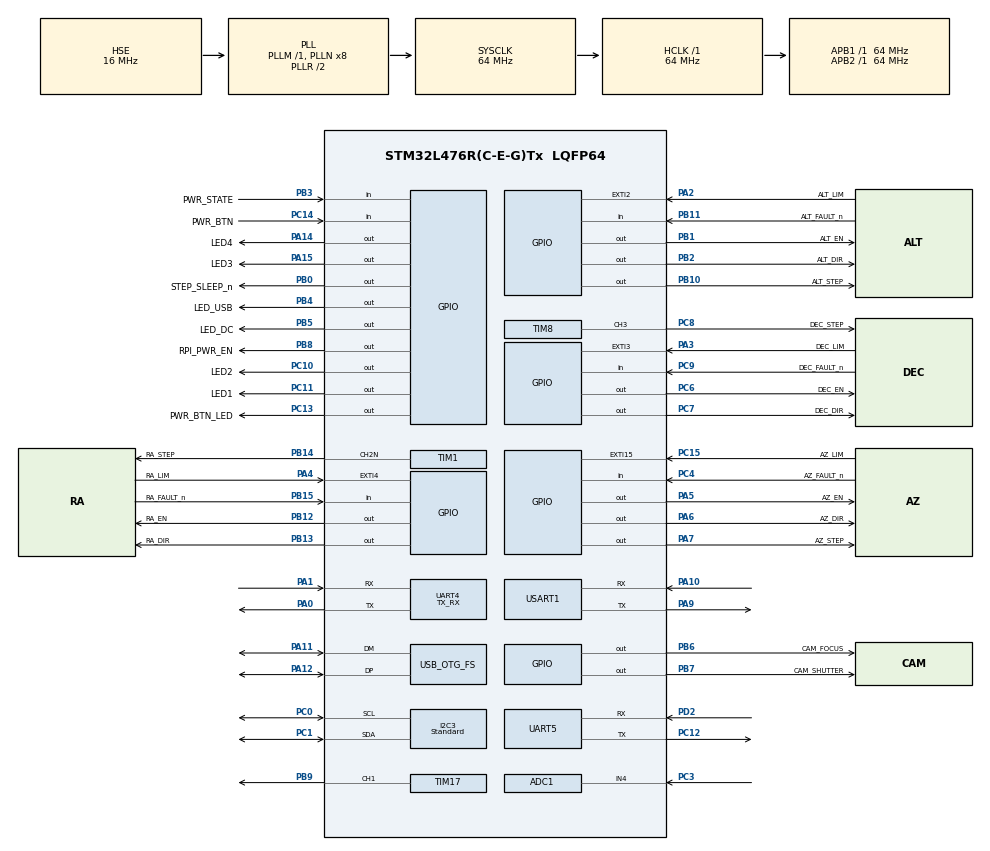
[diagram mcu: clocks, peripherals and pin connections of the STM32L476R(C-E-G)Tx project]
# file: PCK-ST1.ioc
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ADC1.Channel-0\#ChannelRegularConversion=ADC_CHANNEL_VREFINT
ADC1.Channel-1\#ChannelRegularConversion=ADC_CHANNEL_4
ADC1.ContinuousConvMode=ENABLE
ADC1.DMAContinuousRequests=ENABLE
ADC1.NbrOfConversion=2
ADC1.NbrOfConversionFlag=1
ADC1.OffsetNumber-0\#ChannelRegularConversion=ADC_OFFSET_NONE
ADC1.OffsetNumber-1\#ChannelRegularConversion=ADC_OFFSET_NONE
ADC1.Rank-0\#ChannelRegularConversion=1
ADC1.Rank-1\#ChannelRegularConversion=2
ADC1.Resolution=ADC_RESOLUTION_12B
ADC1.SamplingTime-0\#ChannelRegularConversion=ADC_SAMPLETIME_640CYCLES_5
ADC1.SamplingTime-1\#ChannelRegularConversion=ADC_SAMPLETIME_640CYCLES_5
ADC1.master=1
Dma.ADC1.1.Direction=DMA_PERIPH_TO_MEMORY
Dma.ADC1.1.Instance=DMA1_Channel1
Dma.ADC1.1.MemDataAlignment=DMA_MDATAALIGN_HALFWORD
Dma.ADC1.1.MemInc=DMA_MINC_ENABLE
Dma.ADC1.1.Mode=DMA_CIRCULAR
Dma.ADC1.1.PeriphDataAlignment=DMA_PDATAALIGN_HALFWORD
Dma.ADC1.1.PeriphInc=DMA_PINC_DISABLE
Dma.ADC1.1.Priority=DMA_PRIORITY_LOW
Dma.Request0=UART4_RX
Dma.Request1=ADC1
Dma.UART4_RX.0.Direction=DMA_PERIPH_TO_MEMORY
Dma.UART4_RX.0.Instance=DMA2_Channel5
Dma.UART4_RX.0.MemDataAlignment=DMA_MDATAALIGN_BYTE
Dma.UART4_RX.0.MemInc=DMA_MINC_ENABLE
Dma.UART4_RX.0.Mode=DMA_CIRCULAR
Dma.UART4_RX.0.PeriphDataAlignment=DMA_PDATAALIGN_BYTE
Dma.UART4_RX.0.PeriphInc=DMA_PINC_DISABLE
Dma.UART4_RX.0.Priority=DMA_PRIORITY_LOW
I2C3.Analog_Filter=I2C_ANALOGFILTER_ENABLE
I2C3.CustomTiming=Disabled
I2C3.I2C_Rise_Time=100
I2C3.I2C_Speed_Mode=I2C_Standard
I2C3.Timing=0x10B17DB5
Mcu.Family=STM32L4
Mcu.Name=STM32L476R(C-E-G)Tx
Mcu.Package=LQFP64
NVIC.DMA1_Channel1_IRQn=true\:0\:0\:false\:false\:true\:false\:true\:true
NVIC.DMA2_Channel5_IRQn=true\:0\:0\:false\:false\:true\:false\:true\:true
NVIC.EXTI2_IRQn=true\:0\:0\:false\:false\:true\:true\:true\:true
NVIC.EXTI3_IRQn=true\:0\:0\:false\:false\:true\:true\:true\:true
NVIC.EXTI4_IRQn=true\:0\:0\:false\:false\:true\:true\:true\:true
NVIC.OTG_FS_IRQn=true\:0\:0\:false\:false\:true\:false\:true\:true
NVIC.PriorityGroup=NVIC_PRIORITYGROUP_4
NVIC.TIM1_UP_TIM16_IRQn=true\:0\:0\:false\:false\:true\:true\:true\:true
NVIC.TIM2_IRQn=true\:0\:0\:false\:false\:true\:true\:true\:true
NVIC.TIM3_IRQn=true\:0\:0\:false\:false\:true\:true\:true\:true
NVIC.TIM5_IRQn=true\:0\:0\:false\:false\:true\:true\:true\:true
NVIC.UART5_IRQn=true\:0\:0\:false\:false\:true\:true\:true\:true
NVIC.USART1_IRQn=true\:0\:0\:false\:false\:true\:true\:true\:true
PA0.Mode=Asynchronous
PA0.Signal=UART4_TX
PA1.Mode=Asynchronous
PA1.Signal=UART4_RX
PA10.Mode=Asynchronous
PA10.Signal=USART1_RX
PA11.Mode=Device_Only
PA11.Signal=USB_OTG_FS_DM
PA12.Mode=Device_Only
PA12.Signal=USB_OTG_FS_DP
PA14\ (JTCK-SWCLK).GPIO_Label=LED4
PA14\ (JTCK-SWCLK).Signal=GPIO_Output
PA15\ (JTDI).GPIO_Label=LED3
PA15\ (JTDI).Signal=GPIO_Output
PA2.GPIO_Label=ALT_LIM
PA2.GPIO_ModeDefaultEXTI=GPIO_MODE_IT_FALLING
PA2.GPIO_PuPd=GPIO_NOPULL
PA2.Signal=GPXTI2
PA3.GPIO_Label=DEC_LIM
PA3.GPIO_ModeDefaultEXTI=GPIO_MODE_IT_FALLING
PA3.Signal=GPXTI3
PA4.GPIO_Label=RA_LIM
PA4.GPIO_ModeDefaultEXTI=GPIO_MODE_IT_FALLING
PA4.Signal=GPXTI4
PA5.GPIO_Label=AZ_EN
PA5.Signal=GPIO_Output
PA6.GPIO_Label=AZ_DIR
PA6.Signal=GPIO_Output
PA7.GPIO_Label=AZ_STEP
PA7.GPIO_Speed=GPIO_SPEED_FREQ_LOW
PA7.Signal=GPIO_Output
PA9.Mode=Asynchronous
PA9.Signal=USART1_TX
PB0.GPIO_Label=STEP_SLEEP_n
PB0.Signal=GPIO_Output
PB1.GPIO_Label=ALT_EN
PB1.Signal=GPIO_Output
PB10.GPIO_Label=ALT_STEP
PB10.Signal=GPIO_Output
PB11.GPIO_Label=ALT_FAULT_n
PB11.Signal=GPIO_Input
PB12.GPIO_Label=RA_EN
PB12.Signal=GPIO_Output
PB13.GPIO_Label=RA_DIR
PB13.Signal=GPIO_Output
PB14.GPIO_Label=RA_STEP
PB14.Mode=PWM Generation2 CH2N
PB14.Signal=TIM1_CH2N
PB15.GPIO_Label=RA_FAULT_n
PB15.Signal=GPIO_Input
PB2.GPIO_Label=ALT_DIR
PB2.Signal=GPIO_Output
PB3\ (JTDO-TRACESWO).GPIO_Label=PWR_STATE
PB3\ (JTDO-TRACESWO).GPIO_PuPd=GPIO_PULLUP
PB3\ (JTDO-TRACESWO).Signal=GPIO_Input
PB4\ (NJTRST).GPIO_Label=LED_USB
PB4\ (NJTRST).Signal=GPIO_Output
PB5.GPIO_Label=LED_DC
PB5.Signal=GPIO_Output
PB6.GPIO_Label=CAM_FOCUS
PB6.Signal=GPIO_Output
PB7.GPIO_Label=CAM_SHUTTER
PB7.Signal=GPIO_Output
PB8.GPIO_Label=RPI_PWR_EN
PB8.Signal=GPIO_Output
PB9.Signal=S_TIM17_CH1
PC0.Mode=I2C
PC0.Signal=I2C3_SCL
PC1.Mode=I2C
PC1.Signal=I2C3_SDA
PC10.GPIO_Label=LED2
PC10.Signal=GPIO_Output
PC11.GPIO_Label=LED1
PC11.Signal=GPIO_Output
PC12.Mode=Asynchronous
PC12.Signal=UART5_TX
PC13.GPIO_Label=PWR_BTN_LED
PC13.Signal=GPIO_Output
PC14-OSC32_IN\ (PC14).GPIO_Label=PWR_BTN
PC14-OSC32_IN\ (PC14).Signal=GPIO_Input
PC15-OSC32_OUT\ (PC15).GPIO_Label=AZ_LIM
PC15-OSC32_OUT\ (PC15).GPIO_ModeDefaultEXTI=GPIO_MODE_IT_FALLING
PC15-OSC32_OUT\ (PC15).Signal=GPXTI15
PC3.Signal=ADCx_IN4
PC4.GPIO_Label=AZ_FAULT_n
PC4.Signal=GPIO_Input
PC6.GPIO_Label=DEC_EN
PC6.Signal=GPIO_Output
PC7.GPIO_Label=DEC_DIR
PC7.Signal=GPIO_Output
PC8.GPIO_Label=DEC_STEP
PC8.GPIO_Speed=GPIO_SPEED_FREQ_HIGH
PC8.Signal=S_TIM8_CH3
PC9.GPIO_Label=DEC_FAULT_n
PC9.Signal=GPIO_Input
PD2.Mode=Asynchronous
PD2.Signal=UART5_RX
PH0-OSC_IN\ (PH0).Mode=HSE-External-Oscillator
PH0-OSC_IN\ (PH0).Signal=RCC_OSC_IN
PH1-OSC_OUT\ (PH1).Mode=HSE-External-Oscillator
PH1-OSC_OUT\ (PH1).Signal=RCC_OSC_OUT
ProjectManager.HeapSize=0x200
ProjectManager.StackSize=0x400
ProjectManager.TargetToolchain=STM32CubeIDE
RCC.ADCFreq_Value=48000000
RCC.AHBFreq_Value=64000000
RCC.APB1Freq_Value=64000000
RCC.APB1TimFreq_Value=64000000
RCC.APB2Freq_Value=64000000
RCC.APB2TimFreq_Value=64000000
RCC.CortexFreq_Value=64000000
RCC.HCLKFreq_Value=64000000
RCC.HSE_VALUE=16000000
RCC.HSI_VALUE=16000000
RCC.LSE_VALUE=32768
RCC.MSI_VALUE=4000000
RCC.PLLSAI1N=12
RCC.PLLSAI1Q=RCC_PLLQ_DIV4
RCC.PLLSAI1R=RCC_PLLR_DIV4
RCC.PLLSourceVirtual=RCC_PLLSOURCE_HSE
RCC.SYSCLKFreq_VALUE=64000000
RCC.SYSCLKSource=RCC_SYSCLKSOURCE_PLLCLK
RCC.USBFreq_Value=48000000
RCC.VCOOutputFreq_Value=128000000
SH.ADCx_IN4.0=ADC2_IN4
SH.ADCx_IN4.1=ADC1_IN4,IN4-Single-Ended
SH.S_TIM17_CH1.0=TIM17_CH1,PWM Generation1 CH1
SH.S_TIM8_CH3.0=TIM8_CH3,PWM Generation3 CH3
TIM1.Channel-PWM\ Generation2\ CH2N=TIM_CHANNEL_2
TIM1.OCMode_PWM-PWM\ Generation2\ CH2N=TIM_OCMODE_PWM1
TIM1.OCNPolarity_2=TIM_OCNPOLARITY_LOW
TIM1.Period=19
TIM1.Prescaler=31
TIM1.Pulse-PWM\ Generation2\ CH2N=10
TIM1.TIM_MasterOutputTrigger=TIM_TRGO_UPDATE
TIM16.AutoReloadPreload=TIM_AUTORELOAD_PRELOAD_ENABLE
TIM16.Channel=TIM_CHANNEL_1
TIM16.Period=4
TIM16.Prescaler=63999
TIM17.AutoReloadPreload=TIM_AUTORELOAD_PRELOAD_ENABLE
TIM17.Channel=TIM_CHANNEL_1
TIM17.Period=1000
TIM17.Prescaler=63
TIM17.Pulse=1000
TIM2.AutoReloadPreload=TIM_AUTORELOAD_PRELOAD_DISABLE
TIM2.Period=1000
TIM3.AutoReloadPreload=TIM_AUTORELOAD_PRELOAD_ENABLE
TIM3.Period=99
TIM3.Prescaler=63
TIM5.AutoReloadPreload=TIM_AUTORELOAD_PRELOAD_DISABLE
TIM5.Period=1000
TIM8.Channel-PWM\ Generation3\ CH3=TIM_CHANNEL_3
TIM8.Period=19
TIM8.Prescaler=31
TIM8.Pulse-PWM\ Generation3\ CH3=500
TIM8.TIM_MasterOutputTrigger=TIM_TRGO_UPDATE
TIM8.TIM_MasterOutputTrigger2=TIM_TRGO2_RESET
UART4.Mode=MODE_TX_RX
USART1.VirtualMode-Asynchronous=VM_ASYNC
USB_DEVICE.CLASS_NAME_FS=CDC
USB_DEVICE.VirtualMode=Cdc
USB_DEVICE.VirtualModeFS=Cdc_FS
USB_OTG_FS.VirtualMode=Device_Only
VP_ADC1_Vref_Input.Mode=IN-Vrefint
VP_TIM16_VS_ClockSourceINT.Mode=Enable_Timer
VP_TIM16_VS_no_output1.Mode=Output Compare1 No Output
VP_TIM17_VS_ClockSourceINT.Mode=Enable_Timer
VP_TIM1_VS_ClockSourceINT.Mode=Internal
VP_TIM2_VS_ClockSourceITR.Mode=TriggerSource_ITR0
VP_TIM2_VS_ControllerModeClock.Mode=Clock Mode
VP_TIM3_VS_ClockSourceINT.Mode=Internal
VP_TIM5_VS_ClockSourceITR.Mode=TriggerSource_ITR3
VP_TIM5_VS_ControllerModeClock.Mode=Clock Mode
VP_TIM8_VS_ClockSourceINT.Mode=Internal
VP_USB_DEVICE_VS_USB_DEVICE_CDC_FS.Mode=CDC_FS
board=custom

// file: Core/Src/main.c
/* USER CODE BEGIN Header */
/**
  ******************************************************************************
  * @file           : main.c
  * @brief          : Main program body
  ******************************************************************************
  * @attention
  *
  * Copyright (c) 2025 STMicroelectronics.
  * All rights reserved.
  *
  * This software is licensed under terms that can be found in the LICENSE file
  * in the root directory of this software component.
  * If no LICENSE file comes with this software, it is provided AS-IS.
  *
  ******************************************************************************
  */
/* USER CODE END Header */
#include "main.h"
#include "usb_device.h"

/* USER CODE BEGIN Includes */
#include <string.h>
#include <stdio.h>

#include "timers.h"
#include "stepper.h"
#include "mag.h"
#include "gps.h"
#include "exti.h"
#include "usbd_cdc_if.h"
#include "wmm.h"
#include "control_loop.h"
#include "stdbool.h"
#include "cmd_handler.h"
#include "uart_it.h"
#include "telemetry.h"
#include "astro.h"
#include "camera.h"

/* USER CODE END Includes */

ADC_HandleTypeDef hadc1;
DMA_HandleTypeDef hdma_adc1;

I2C_HandleTypeDef hi2c3;

TIM_HandleTypeDef htim1;
TIM_HandleTypeDef htim2;
TIM_HandleTypeDef htim3;
TIM_HandleTypeDef htim5;
TIM_HandleTypeDef htim8;
TIM_HandleTypeDef htim16;
TIM_HandleTypeDef htim17;

UART_HandleTypeDef huart4;
UART_HandleTypeDef huart5;
UART_HandleTypeDef huart1;
DMA_HandleTypeDef hdma_uart4_rx;

void SystemClock_Config(void);
void PeriphCommonClock_Config(void);
static void MX_GPIO_Init(void);
static void MX_DMA_Init(void);
static void MX_I2C3_Init(void);
static void MX_UART4_Init(void);
static void MX_UART5_Init(void);
static void MX_USART1_UART_Init(void);
static void MX_TIM17_Init(void);
static void MX_TIM3_Init(void);
static void MX_TIM5_Init(void);
static void MX_TIM8_Init(void);
static void MX_TIM1_Init(void);
static void MX_TIM2_Init(void);
static void MX_ADC1_Init(void);
static void MX_TIM16_Init(void);

int main(void)
{

  /* MCU Configuration--------------------------------------------------------*/

  /* Reset of all peripherals, Initializes the Flash interface and the Systick. */
  HAL_Init();

  /* Configure the system clock */
  SystemClock_Config();

  /* Configure the peripherals common clocks */
  PeriphCommonClock_Config();

  /* Initialize all configured peripherals */
  MX_GPIO_Init();
  MX_DMA_Init();
  MX_I2C3_Init();
  MX_UART4_Init();
  MX_UART5_Init();
  MX_USART1_UART_Init();
  MX_TIM17_Init();
  MX_USB_DEVICE_Init();
  MX_TIM3_Init();
  MX_TIM5_Init();
  MX_TIM8_Init();
  MX_TIM1_Init();
  MX_TIM2_Init();
  MX_ADC1_Init();
  MX_TIM16_Init();

  /* Infinite loop */
  /* USER CODE BEGIN WHILE */

  stepperInit();
  Stepper_nSleep(GPIO_PIN_SET);
  Mag_Init(&hi2c3);
  commandHandler_Init();
  UART_IT_Init();
  GPS_Init_DMA();
  wmm_init();
  adcVoltageInit();
  cameraInit();

  ledsSet(0); //Turns LEDS off by default
  pwrButtonSet(1); //Turns Power button LED ON by default

  while (1)
  {
    /* USER CODE END WHILE */

    /* USER CODE BEGIN 3 */

	controlLoop();
	commandHandler();
	telemetryHandler();
	cameraHandler();

  }

  /* USER CODE END 3 */
}

void SystemClock_Config(void)
{
  RCC_OscInitTypeDef RCC_OscInitStruct = {0};
  RCC_ClkInitTypeDef RCC_ClkInitStruct = {0};

  /** Configure the main internal regulator output voltage
  */
  if (HAL_PWREx_ControlVoltageScaling(PWR_REGULATOR_VOLTAGE_SCALE1) != HAL_OK)
  {
    Error_Handler();
  }

  /** Initializes the RCC Oscillators according to the specified parameters
  * in the RCC_OscInitTypeDef structure.
  */
  RCC_OscInitStruct.OscillatorType = RCC_OSCILLATORTYPE_HSE;
  RCC_OscInitStruct.HSEState = RCC_HSE_ON;
  RCC_OscInitStruct.PLL.PLLState = RCC_PLL_ON;
  RCC_OscInitStruct.PLL.PLLSource = RCC_PLLSOURCE_HSE;
  RCC_OscInitStruct.PLL.PLLM = 1;
  RCC_OscInitStruct.PLL.PLLN = 8;
  RCC_OscInitStruct.PLL.PLLP = RCC_PLLP_DIV7;
  RCC_OscInitStruct.PLL.PLLQ = RCC_PLLQ_DIV2;
  RCC_OscInitStruct.PLL.PLLR = RCC_PLLR_DIV2;
  if (HAL_RCC_OscConfig(&RCC_OscInitStruct) != HAL_OK)
  {
    Error_Handler();
  }

  /** Initializes the CPU, AHB and APB buses clocks
  */
  RCC_ClkInitStruct.ClockType = RCC_CLOCKTYPE_HCLK|RCC_CLOCKTYPE_SYSCLK
                              |RCC_CLOCKTYPE_PCLK1|RCC_CLOCKTYPE_PCLK2;
  RCC_ClkInitStruct.SYSCLKSource = RCC_SYSCLKSOURCE_PLLCLK;
  RCC_ClkInitStruct.AHBCLKDivider = RCC_SYSCLK_DIV1;
  RCC_ClkInitStruct.APB1CLKDivider = RCC_HCLK_DIV1;
  RCC_ClkInitStruct.APB2CLKDivider = RCC_HCLK_DIV1;

  if (HAL_RCC_ClockConfig(&RCC_ClkInitStruct, FLASH_LATENCY_3) != HAL_OK)
  {
    Error_Handler();
  }
}

void PeriphCommonClock_Config(void)
{
  RCC_PeriphCLKInitTypeDef PeriphClkInit = {0};

  /** Initializes the peripherals clock
  */
  PeriphClkInit.PeriphClockSelection = RCC_PERIPHCLK_USB|RCC_PERIPHCLK_ADC;
  PeriphClkInit.AdcClockSelection = RCC_ADCCLKSOURCE_PLLSAI1;
  PeriphClkInit.UsbClockSelection = RCC_USBCLKSOURCE_PLLSAI1;
  PeriphClkInit.PLLSAI1.PLLSAI1Source = RCC_PLLSOURCE_HSE;
  PeriphClkInit.PLLSAI1.PLLSAI1M = 1;
  PeriphClkInit.PLLSAI1.PLLSAI1N = 12;
  PeriphClkInit.PLLSAI1.PLLSAI1P = RCC_PLLP_DIV7;
  PeriphClkInit.PLLSAI1.PLLSAI1Q = RCC_PLLQ_DIV4;
  PeriphClkInit.PLLSAI1.PLLSAI1R = RCC_PLLR_DIV4;
  PeriphClkInit.PLLSAI1.PLLSAI1ClockOut = RCC_PLLSAI1_48M2CLK|RCC_PLLSAI1_ADC1CLK;
  if (HAL_RCCEx_PeriphCLKConfig(&PeriphClkInit) != HAL_OK)
  {
    Error_Handler();
  }
}

static void MX_ADC1_Init(void)
{

  ADC_MultiModeTypeDef multimode = {0};
  ADC_ChannelConfTypeDef sConfig = {0};

  /** Common config
  */
  hadc1.Instance = ADC1;
  hadc1.Init.ClockPrescaler = ADC_CLOCK_ASYNC_DIV1;
  hadc1.Init.Resolution = ADC_RESOLUTION_12B;
  hadc1.Init.DataAlign = ADC_DATAALIGN_RIGHT;
  hadc1.Init.ScanConvMode = ADC_SCAN_ENABLE;
  hadc1.Init.EOCSelection = ADC_EOC_SINGLE_CONV;
  hadc1.Init.LowPowerAutoWait = DISABLE;
  hadc1.Init.ContinuousConvMode = ENABLE;
  hadc1.Init.NbrOfConversion = 2;
  hadc1.Init.DiscontinuousConvMode = DISABLE;
  hadc1.Init.ExternalTrigConv = ADC_SOFTWARE_START;
  hadc1.Init.ExternalTrigConvEdge = ADC_EXTERNALTRIGCONVEDGE_NONE;
  hadc1.Init.DMAContinuousRequests = ENABLE;
  hadc1.Init.Overrun = ADC_OVR_DATA_PRESERVED;
  hadc1.Init.OversamplingMode = DISABLE;
  if (HAL_ADC_Init(&hadc1) != HAL_OK)
  {
    Error_Handler();
  }

  /** Configure the ADC multi-mode
  */
  multimode.Mode = ADC_MODE_INDEPENDENT;
  if (HAL_ADCEx_MultiModeConfigChannel(&hadc1, &multimode) != HAL_OK)
  {
    Error_Handler();
  }

  /** Configure Regular Channel
  */
  sConfig.Channel = ADC_CHANNEL_VREFINT;
  sConfig.Rank = ADC_REGULAR_RANK_1;
  sConfig.SamplingTime = ADC_SAMPLETIME_640CYCLES_5;
  sConfig.SingleDiff = ADC_SINGLE_ENDED;
  sConfig.OffsetNumber = ADC_OFFSET_NONE;
  sConfig.Offset = 0;
  if (HAL_ADC_ConfigChannel(&hadc1, &sConfig) != HAL_OK)
  {
    Error_Handler();
  }

  /** Configure Regular Channel
  */
  sConfig.Channel = ADC_CHANNEL_4;
  sConfig.Rank = ADC_REGULAR_RANK_2;
  if (HAL_ADC_ConfigChannel(&hadc1, &sConfig) != HAL_OK)
  {
    Error_Handler();
  }

}

static void MX_I2C3_Init(void)
{

  hi2c3.Instance = I2C3;
  hi2c3.Init.Timing = 0x10B17DB5;
  hi2c3.Init.OwnAddress1 = 0;
  hi2c3.Init.AddressingMode = I2C_ADDRESSINGMODE_7BIT;
  hi2c3.Init.DualAddressMode = I2C_DUALADDRESS_DISABLE;
  hi2c3.Init.OwnAddress2 = 0;
  hi2c3.Init.OwnAddress2Masks = I2C_OA2_NOMASK;
  hi2c3.Init.GeneralCallMode = I2C_GENERALCALL_DISABLE;
  hi2c3.Init.NoStretchMode = I2C_NOSTRETCH_DISABLE;
  if (HAL_I2C_Init(&hi2c3) != HAL_OK)
  {
    Error_Handler();
  }

  /** Configure Analogue filter
  */
  if (HAL_I2CEx_ConfigAnalogFilter(&hi2c3, I2C_ANALOGFILTER_ENABLE) != HAL_OK)
  {
    Error_Handler();
  }

  /** Configure Digital filter
  */
  if (HAL_I2CEx_ConfigDigitalFilter(&hi2c3, 0) != HAL_OK)
  {
    Error_Handler();
  }

}

static void MX_TIM1_Init(void)
{

  TIM_ClockConfigTypeDef sClockSourceConfig = {0};
  TIM_MasterConfigTypeDef sMasterConfig = {0};
  TIM_OC_InitTypeDef sConfigOC = {0};
  TIM_BreakDeadTimeConfigTypeDef sBreakDeadTimeConfig = {0};

  htim1.Instance = TIM1;
  htim1.Init.Prescaler = 31;
  htim1.Init.CounterMode = TIM_COUNTERMODE_UP;
  htim1.Init.Period = 19;
  htim1.Init.ClockDivision = TIM_CLOCKDIVISION_DIV1;
  htim1.Init.RepetitionCounter = 0;
  htim1.Init.AutoReloadPreload = TIM_AUTORELOAD_PRELOAD_DISABLE;
  if (HAL_TIM_Base_Init(&htim1) != HAL_OK)
  {
    Error_Handler();
  }
  sClockSourceConfig.ClockSource = TIM_CLOCKSOURCE_INTERNAL;
  if (HAL_TIM_ConfigClockSource(&htim1, &sClockSourceConfig) != HAL_OK)
  {
    Error_Handler();
  }
  if (HAL_TIM_PWM_Init(&htim1) != HAL_OK)
  {
    Error_Handler();
  }
  sMasterConfig.MasterOutputTrigger = TIM_TRGO_UPDATE;
  sMasterConfig.MasterOutputTrigger2 = TIM_TRGO2_RESET;
  sMasterConfig.MasterSlaveMode = TIM_MASTERSLAVEMODE_DISABLE;
  if (HAL_TIMEx_MasterConfigSynchronization(&htim1, &sMasterConfig) != HAL_OK)
  {
    Error_Handler();
  }
  sConfigOC.OCMode = TIM_OCMODE_PWM1;
  sConfigOC.Pulse = 10;
  sConfigOC.OCPolarity = TIM_OCPOLARITY_HIGH;
  sConfigOC.OCNPolarity = TIM_OCNPOLARITY_LOW;
  sConfigOC.OCFastMode = TIM_OCFAST_DISABLE;
  sConfigOC.OCIdleState = TIM_OCIDLESTATE_RESET;
  sConfigOC.OCNIdleState = TIM_OCNIDLESTATE_RESET;
  if (HAL_TIM_PWM_ConfigChannel(&htim1, &sConfigOC, TIM_CHANNEL_2) != HAL_OK)
  {
    Error_Handler();
  }
  sBreakDeadTimeConfig.OffStateRunMode = TIM_OSSR_DISABLE;
  sBreakDeadTimeConfig.OffStateIDLEMode = TIM_OSSI_DISABLE;
  sBreakDeadTimeConfig.LockLevel = TIM_LOCKLEVEL_OFF;
  sBreakDeadTimeConfig.DeadTime = 0;
  sBreakDeadTimeConfig.BreakState = TIM_BREAK_DISABLE;
  sBreakDeadTimeConfig.BreakPolarity = TIM_BREAKPOLARITY_HIGH;
  sBreakDeadTimeConfig.BreakFilter = 0;
  sBreakDeadTimeConfig.Break2State = TIM_BREAK2_DISABLE;
  sBreakDeadTimeConfig.Break2Polarity = TIM_BREAK2POLARITY_HIGH;
  sBreakDeadTimeConfig.Break2Filter = 0;
  sBreakDeadTimeConfig.AutomaticOutput = TIM_AUTOMATICOUTPUT_DISABLE;
  if (HAL_TIMEx_ConfigBreakDeadTime(&htim1, &sBreakDeadTimeConfig) != HAL_OK)
  {
    Error_Handler();
  }
  HAL_TIM_MspPostInit(&htim1);

}

static void MX_TIM2_Init(void)
{

  TIM_SlaveConfigTypeDef sSlaveConfig = {0};
  TIM_MasterConfigTypeDef sMasterConfig = {0};

  htim2.Instance = TIM2;
  htim2.Init.Prescaler = 0;
  htim2.Init.CounterMode = TIM_COUNTERMODE_UP;
  htim2.Init.Period = 1000;
  htim2.Init.ClockDivision = TIM_CLOCKDIVISION_DIV1;
  htim2.Init.AutoReloadPreload = TIM_AUTORELOAD_PRELOAD_DISABLE;
  if (HAL_TIM_Base_Init(&htim2) != HAL_OK)
  {
    Error_Handler();
  }
  sSlaveConfig.SlaveMode = TIM_SLAVEMODE_EXTERNAL1;
  sSlaveConfig.InputTrigger = TIM_TS_ITR0;
  if (HAL_TIM_SlaveConfigSynchro(&htim2, &sSlaveConfig) != HAL_OK)
  {
    Error_Handler();
  }
  sMasterConfig.MasterOutputTrigger = TIM_TRGO_RESET;
  sMasterConfig.MasterSlaveMode = TIM_MASTERSLAVEMODE_DISABLE;
  if (HAL_TIMEx_MasterConfigSynchronization(&htim2, &sMasterConfig) != HAL_OK)
  {
    Error_Handler();
  }

}

static void MX_TIM3_Init(void)
{

  TIM_ClockConfigTypeDef sClockSourceConfig = {0};
  TIM_MasterConfigTypeDef sMasterConfig = {0};

  htim3.Instance = TIM3;
  htim3.Init.Prescaler = 63;
  htim3.Init.CounterMode = TIM_COUNTERMODE_UP;
  htim3.Init.Period = 99;
  htim3.Init.ClockDivision = TIM_CLOCKDIVISION_DIV1;
  htim3.Init.AutoReloadPreload = TIM_AUTORELOAD_PRELOAD_ENABLE;
  if (HAL_TIM_Base_Init(&htim3) != HAL_OK)
  {
    Error_Handler();
  }
  sClockSourceConfig.ClockSource = TIM_CLOCKSOURCE_INTERNAL;
  if (HAL_TIM_ConfigClockSource(&htim3, &sClockSourceConfig) != HAL_OK)
  {
    Error_Handler();
  }
  sMasterConfig.MasterOutputTrigger = TIM_TRGO_RESET;
  sMasterConfig.MasterSlaveMode = TIM_MASTERSLAVEMODE_DISABLE;
  if (HAL_TIMEx_MasterConfigSynchronization(&htim3, &sMasterConfig) != HAL_OK)
  {
    Error_Handler();
  }

}

static void MX_TIM5_Init(void)
{

  TIM_SlaveConfigTypeDef sSlaveConfig = {0};
  TIM_MasterConfigTypeDef sMasterConfig = {0};

  htim5.Instance = TIM5;
  htim5.Init.Prescaler = 0;
  htim5.Init.CounterMode = TIM_COUNTERMODE_UP;
  htim5.Init.Period = 1000;
  htim5.Init.ClockDivision = TIM_CLOCKDIVISION_DIV1;
  htim5.Init.AutoReloadPreload = TIM_AUTORELOAD_PRELOAD_DISABLE;
  if (HAL_TIM_Base_Init(&htim5) != HAL_OK)
  {
    Error_Handler();
  }
  sSlaveConfig.SlaveMode = TIM_SLAVEMODE_EXTERNAL1;
  sSlaveConfig.InputTrigger = TIM_TS_ITR3;
  if (HAL_TIM_SlaveConfigSynchro(&htim5, &sSlaveConfig) != HAL_OK)
  {
    Error_Handler();
  }
  sMasterConfig.MasterOutputTrigger = TIM_TRGO_RESET;
  sMasterConfig.MasterSlaveMode = TIM_MASTERSLAVEMODE_DISABLE;
  if (HAL_TIMEx_MasterConfigSynchronization(&htim5, &sMasterConfig) != HAL_OK)
  {
    Error_Handler();
  }

}

static void MX_TIM8_Init(void)
{

  TIM_ClockConfigTypeDef sClockSourceConfig = {0};
  TIM_MasterConfigTypeDef sMasterConfig = {0};
  TIM_OC_InitTypeDef sConfigOC = {0};
  TIM_BreakDeadTimeConfigTypeDef sBreakDeadTimeConfig = {0};

  htim8.Instance = TIM8;
  htim8.Init.Prescaler = 31;
  htim8.Init.CounterMode = TIM_COUNTERMODE_UP;
  htim8.Init.Period = 19;
  htim8.Init.ClockDivision = TIM_CLOCKDIVISION_DIV1;
  htim8.Init.RepetitionCounter = 0;
  htim8.Init.AutoReloadPreload = TIM_AUTORELOAD_PRELOAD_DISABLE;
  if (HAL_TIM_Base_Init(&htim8) != HAL_OK)
  {
    Error_Handler();
  }
  sClockSourceConfig.ClockSource = TIM_CLOCKSOURCE_INTERNAL;
  if (HAL_TIM_ConfigClockSource(&htim8, &sClockSourceConfig) != HAL_OK)
  {
    Error_Handler();
  }
  if (HAL_TIM_PWM_Init(&htim8) != HAL_OK)
  {
    Error_Handler();
  }
  sMasterConfig.MasterOutputTrigger = TIM_TRGO_UPDATE;
  sMasterConfig.MasterOutputTrigger2 = TIM_TRGO2_RESET;
  sMasterConfig.MasterSlaveMode = TIM_MASTERSLAVEMODE_DISABLE;
  if (HAL_TIMEx_MasterConfigSynchronization(&htim8, &sMasterConfig) != HAL_OK)
  {
    Error_Handler();
  }
  sConfigOC.OCMode = TIM_OCMODE_PWM1;
  sConfigOC.Pulse = 500;
  sConfigOC.OCPolarity = TIM_OCPOLARITY_HIGH;
  sConfigOC.OCNPolarity = TIM_OCNPOLARITY_HIGH;
  sConfigOC.OCFastMode = TIM_OCFAST_DISABLE;
  sConfigOC.OCIdleState = TIM_OCIDLESTATE_RESET;
  sConfigOC.OCNIdleState = TIM_OCNIDLESTATE_RESET;
  if (HAL_TIM_PWM_ConfigChannel(&htim8, &sConfigOC, TIM_CHANNEL_3) != HAL_OK)
  {
    Error_Handler();
  }
  sBreakDeadTimeConfig.OffStateRunMode = TIM_OSSR_DISABLE;
  sBreakDeadTimeConfig.OffStateIDLEMode = TIM_OSSI_DISABLE;
  sBreakDeadTimeConfig.LockLevel = TIM_LOCKLEVEL_OFF;
  sBreakDeadTimeConfig.DeadTime = 0;
  sBreakDeadTimeConfig.BreakState = TIM_BREAK_DISABLE;
  sBreakDeadTimeConfig.BreakPolarity = TIM_BREAKPOLARITY_HIGH;
  sBreakDeadTimeConfig.BreakFilter = 0;
  sBreakDeadTimeConfig.Break2State = TIM_BREAK2_DISABLE;
  sBreakDeadTimeConfig.Break2Polarity = TIM_BREAK2POLARITY_HIGH;
  sBreakDeadTimeConfig.Break2Filter = 0;
  sBreakDeadTimeConfig.AutomaticOutput = TIM_AUTOMATICOUTPUT_DISABLE;
  if (HAL_TIMEx_ConfigBreakDeadTime(&htim8, &sBreakDeadTimeConfig) != HAL_OK)
  {
    Error_Handler();
  }
  HAL_TIM_MspPostInit(&htim8);

}

static void MX_TIM16_Init(void)
{

  TIM_OC_InitTypeDef sConfigOC = {0};
  TIM_BreakDeadTimeConfigTypeDef sBreakDeadTimeConfig = {0};

  htim16.Instance = TIM16;
  htim16.Init.Prescaler = 63999;
  htim16.Init.CounterMode = TIM_COUNTERMODE_UP;
  htim16.Init.Period = 4;
  htim16.Init.ClockDivision = TIM_CLOCKDIVISION_DIV1;
  htim16.Init.RepetitionCounter = 0;
  htim16.Init.AutoReloadPreload = TIM_AUTORELOAD_PRELOAD_ENABLE;
  if (HAL_TIM_Base_Init(&htim16) != HAL_OK)
  {
    Error_Handler();
  }
  if (HAL_TIM_OC_Init(&htim16) != HAL_OK)
  {
    Error_Handler();
  }
  sConfigOC.OCMode = TIM_OCMODE_TIMING;
  sConfigOC.Pulse = 0;
  sConfigOC.OCPolarity = TIM_OCPOLARITY_HIGH;
  sConfigOC.OCNPolarity = TIM_OCNPOLARITY_HIGH;
  sConfigOC.OCFastMode = TIM_OCFAST_DISABLE;
  sConfigOC.OCIdleState = TIM_OCIDLESTATE_RESET;
  sConfigOC.OCNIdleState = TIM_OCNIDLESTATE_RESET;
  if (HAL_TIM_OC_ConfigChannel(&htim16, &sConfigOC, TIM_CHANNEL_1) != HAL_OK)
  {
    Error_Handler();
  }
  sBreakDeadTimeConfig.OffStateRunMode = TIM_OSSR_DISABLE;
  sBreakDeadTimeConfig.OffStateIDLEMode = TIM_OSSI_DISABLE;
  sBreakDeadTimeConfig.LockLevel = TIM_LOCKLEVEL_OFF;
  sBreakDeadTimeConfig.DeadTime = 0;
  sBreakDeadTimeConfig.BreakState = TIM_BREAK_DISABLE;
  sBreakDeadTimeConfig.BreakPolarity = TIM_BREAKPOLARITY_HIGH;
  sBreakDeadTimeConfig.AutomaticOutput = TIM_AUTOMATICOUTPUT_DISABLE;
  if (HAL_TIMEx_ConfigBreakDeadTime(&htim16, &sBreakDeadTimeConfig) != HAL_OK)
  {
    Error_Handler();
  }

}

static void MX_TIM17_Init(void)
{

  TIM_OC_InitTypeDef sConfigOC = {0};
  TIM_BreakDeadTimeConfigTypeDef sBreakDeadTimeConfig = {0};

  htim17.Instance = TIM17;
  htim17.Init.Prescaler = 63;
  htim17.Init.CounterMode = TIM_COUNTERMODE_UP;
  htim17.Init.Period = 1000;
  htim17.Init.ClockDivision = TIM_CLOCKDIVISION_DIV1;
  htim17.Init.RepetitionCounter = 0;
  htim17.Init.AutoReloadPreload = TIM_AUTORELOAD_PRELOAD_ENABLE;
  if (HAL_TIM_Base_Init(&htim17) != HAL_OK)
  {
    Error_Handler();
  }
  if (HAL_TIM_PWM_Init(&htim17) != HAL_OK)
  {
    Error_Handler();
  }
  sConfigOC.OCMode = TIM_OCMODE_PWM1;
  sConfigOC.Pulse = 1000;
  sConfigOC.OCPolarity = TIM_OCPOLARITY_HIGH;
  sConfigOC.OCNPolarity = TIM_OCNPOLARITY_HIGH;
  sConfigOC.OCFastMode = TIM_OCFAST_DISABLE;
  sConfigOC.OCIdleState = TIM_OCIDLESTATE_RESET;
  sConfigOC.OCNIdleState = TIM_OCNIDLESTATE_RESET;
  if (HAL_TIM_PWM_ConfigChannel(&htim17, &sConfigOC, TIM_CHANNEL_1) != HAL_OK)
  {
    Error_Handler();
  }
  sBreakDeadTimeConfig.OffStateRunMode = TIM_OSSR_DISABLE;
  sBreakDeadTimeConfig.OffStateIDLEMode = TIM_OSSI_DISABLE;
  sBreakDeadTimeConfig.LockLevel = TIM_LOCKLEVEL_OFF;
  sBreakDeadTimeConfig.DeadTime = 0;
  sBreakDeadTimeConfig.BreakState = TIM_BREAK_DISABLE;
  sBreakDeadTimeConfig.BreakPolarity = TIM_BREAKPOLARITY_HIGH;
  sBreakDeadTimeConfig.AutomaticOutput = TIM_AUTOMATICOUTPUT_DISABLE;
  if (HAL_TIMEx_ConfigBreakDeadTime(&htim17, &sBreakDeadTimeConfig) != HAL_OK)
  {
    Error_Handler();
  }
  HAL_TIM_MspPostInit(&htim17);

}

static void MX_UART4_Init(void)
{

  huart4.Instance = UART4;
  huart4.Init.BaudRate = 115200;
  huart4.Init.WordLength = UART_WORDLENGTH_8B;
  huart4.Init.StopBits = UART_STOPBITS_1;
  huart4.Init.Parity = UART_PARITY_NONE;
  huart4.Init.Mode = UART_MODE_TX_RX;
  huart4.Init.HwFlowCtl = UART_HWCONTROL_NONE;
  huart4.Init.OverSampling = UART_OVERSAMPLING_16;
  huart4.Init.OneBitSampling = UART_ONE_BIT_SAMPLE_DISABLE;
  huart4.AdvancedInit.AdvFeatureInit = UART_ADVFEATURE_NO_INIT;
  if (HAL_UART_Init(&huart4) != HAL_OK)
  {
    Error_Handler();
  }

}

static void MX_UART5_Init(void)
{

  huart5.Instance = UART5;
  huart5.Init.BaudRate = 115200;
  huart5.Init.WordLength = UART_WORDLENGTH_8B;
  huart5.Init.StopBits = UART_STOPBITS_1;
  huart5.Init.Parity = UART_PARITY_NONE;
  huart5.Init.Mode = UART_MODE_TX_RX;
  huart5.Init.HwFlowCtl = UART_HWCONTROL_NONE;
  huart5.Init.OverSampling = UART_OVERSAMPLING_16;
  huart5.Init.OneBitSampling = UART_ONE_BIT_SAMPLE_DISABLE;
  huart5.AdvancedInit.AdvFeatureInit = UART_ADVFEATURE_NO_INIT;
  if (HAL_UART_Init(&huart5) != HAL_OK)
  {
    Error_Handler();
  }

}

static void MX_USART1_UART_Init(void)
{

  huart1.Instance = USART1;
  huart1.Init.BaudRate = 115200;
  huart1.Init.WordLength = UART_WORDLENGTH_8B;
  huart1.Init.StopBits = UART_STOPBITS_1;
  huart1.Init.Parity = UART_PARITY_NONE;
  huart1.Init.Mode = UART_MODE_TX_RX;
  huart1.Init.HwFlowCtl = UART_HWCONTROL_NONE;
  huart1.Init.OverSampling = UART_OVERSAMPLING_16;
  huart1.Init.OneBitSampling = UART_ONE_BIT_SAMPLE_DISABLE;
  huart1.AdvancedInit.AdvFeatureInit = UART_ADVFEATURE_NO_INIT;
  if (HAL_UART_Init(&huart1) != HAL_OK)
  {
    Error_Handler();
  }

}

static void MX_DMA_Init(void)
{

  /* DMA controller clock enable */
  __HAL_RCC_DMA2_CLK_ENABLE();
  __HAL_RCC_DMA1_CLK_ENABLE();

  /* DMA interrupt init */
  /* DMA1_Channel1_IRQn interrupt configuration */
  HAL_NVIC_SetPriority(DMA1_Channel1_IRQn, 0, 0);
  HAL_NVIC_EnableIRQ(DMA1_Channel1_IRQn);
  /* DMA2_Channel5_IRQn interrupt configuration */
  HAL_NVIC_SetPriority(DMA2_Channel5_IRQn, 0, 0);
  HAL_NVIC_EnableIRQ(DMA2_Channel5_IRQn);

}

static void MX_GPIO_Init(void)
{
  GPIO_InitTypeDef GPIO_InitStruct = {0};

  /* GPIO Ports Clock Enable */
  __HAL_RCC_GPIOC_CLK_ENABLE();
  __HAL_RCC_GPIOH_CLK_ENABLE();
  __HAL_RCC_GPIOA_CLK_ENABLE();
  __HAL_RCC_GPIOB_CLK_ENABLE();
  __HAL_RCC_GPIOD_CLK_ENABLE();

  /*Configure GPIO pin Output Level */
  HAL_GPIO_WritePin(GPIOC, PWR_BTN_LED_Pin|DEC_EN_Pin|DEC_DIR_Pin|LED2_Pin
                          |LED1_Pin, GPIO_PIN_RESET);

  /*Configure GPIO pin Output Level */
  HAL_GPIO_WritePin(GPIOA, AZ_EN_Pin|AZ_DIR_Pin|AZ_STEP_Pin|LED4_Pin
                          |LED3_Pin, GPIO_PIN_RESET);

  /*Configure GPIO pin Output Level */
  HAL_GPIO_WritePin(GPIOB, STEP_SLEEP_n_Pin|ALT_EN_Pin|ALT_DIR_Pin|ALT_STEP_Pin
                          |RA_EN_Pin|RA_DIR_Pin|LED_USB_Pin|LED_DC_Pin
                          |CAM_FOCUS_Pin|CAM_SHUTTER_Pin|RPI_PWR_EN_Pin, GPIO_PIN_RESET);

  /*Configure GPIO pins : PWR_BTN_LED_Pin DEC_EN_Pin DEC_DIR_Pin LED2_Pin
                           LED1_Pin */
  GPIO_InitStruct.Pin = PWR_BTN_LED_Pin|DEC_EN_Pin|DEC_DIR_Pin|LED2_Pin
                          |LED1_Pin;
  GPIO_InitStruct.Mode = GPIO_MODE_OUTPUT_PP;
  GPIO_InitStruct.Pull = GPIO_NOPULL;
  GPIO_InitStruct.Speed = GPIO_SPEED_FREQ_LOW;
  HAL_GPIO_Init(GPIOC, &GPIO_InitStruct);

  /*Configure GPIO pins : PWR_BTN_Pin AZ_FAULT_n_Pin DEC_FAULT_n_Pin */
  GPIO_InitStruct.Pin = PWR_BTN_Pin|AZ_FAULT_n_Pin|DEC_FAULT_n_Pin;
  GPIO_InitStruct.Mode = GPIO_MODE_INPUT;
  GPIO_InitStruct.Pull = GPIO_NOPULL;
  HAL_GPIO_Init(GPIOC, &GPIO_InitStruct);

  /*Configure GPIO pin : AZ_LIM_Pin */
  GPIO_InitStruct.Pin = AZ_LIM_Pin;
  GPIO_InitStruct.Mode = GPIO_MODE_IT_FALLING;
  GPIO_InitStruct.Pull = GPIO_NOPULL;
  HAL_GPIO_Init(AZ_LIM_GPIO_Port, &GPIO_InitStruct);

  /*Configure GPIO pin : PC3 */
  GPIO_InitStruct.Pin = GPIO_PIN_3;
  GPIO_InitStruct.Mode = GPIO_MODE_ANALOG_ADC_CONTROL;
  GPIO_InitStruct.Pull = GPIO_NOPULL;
  HAL_GPIO_Init(GPIOC, &GPIO_InitStruct);

  /*Configure GPIO pins : ALT_LIM_Pin DEC_LIM_Pin RA_LIM_Pin */
  GPIO_InitStruct.Pin = ALT_LIM_Pin|DEC_LIM_Pin|RA_LIM_Pin;
  GPIO_InitStruct.Mode = GPIO_MODE_IT_FALLING;
  GPIO_InitStruct.Pull = GPIO_NOPULL;
  HAL_GPIO_Init(GPIOA, &GPIO_InitStruct);

  /*Configure GPIO pins : AZ_EN_Pin AZ_DIR_Pin AZ_STEP_Pin LED4_Pin
                           LED3_Pin */
  GPIO_InitStruct.Pin = AZ_EN_Pin|AZ_DIR_Pin|AZ_STEP_Pin|LED4_Pin
                          |LED3_Pin;
  GPIO_InitStruct.Mode = GPIO_MODE_OUTPUT_PP;
  GPIO_InitStruct.Pull = GPIO_NOPULL;
  GPIO_InitStruct.Speed = GPIO_SPEED_FREQ_LOW;
  HAL_GPIO_Init(GPIOA, &GPIO_InitStruct);

  /*Configure GPIO pins : STEP_SLEEP_n_Pin ALT_EN_Pin ALT_DIR_Pin ALT_STEP_Pin
                           RA_EN_Pin RA_DIR_Pin LED_USB_Pin LED_DC_Pin
                           CAM_FOCUS_Pin CAM_SHUTTER_Pin RPI_PWR_EN_Pin */
  GPIO_InitStruct.Pin = STEP_SLEEP_n_Pin|ALT_EN_Pin|ALT_DIR_Pin|ALT_STEP_Pin
                          |RA_EN_Pin|RA_DIR_Pin|LED_USB_Pin|LED_DC_Pin
                          |CAM_FOCUS_Pin|CAM_SHUTTER_Pin|RPI_PWR_EN_Pin;
  GPIO_InitStruct.Mode = GPIO_MODE_OUTPUT_PP;
  GPIO_InitStruct.Pull = GPIO_NOPULL;
  GPIO_InitStruct.Speed = GPIO_SPEED_FREQ_LOW;
  HAL_GPIO_Init(GPIOB, &GPIO_InitStruct);

  /*Configure GPIO pins : ALT_FAULT_n_Pin RA_FAULT_n_Pin */
  GPIO_InitStruct.Pin = ALT_FAULT_n_Pin|RA_FAULT_n_Pin;
  GPIO_InitStruct.Mode = GPIO_MODE_INPUT;
  GPIO_InitStruct.Pull = GPIO_NOPULL;
  HAL_GPIO_Init(GPIOB, &GPIO_InitStruct);

  /*Configure GPIO pin : PWR_STATE_Pin */
  GPIO_InitStruct.Pin = PWR_STATE_Pin;
  GPIO_InitStruct.Mode = GPIO_MODE_INPUT;
  GPIO_InitStruct.Pull = GPIO_PULLUP;
  HAL_GPIO_Init(PWR_STATE_GPIO_Port, &GPIO_InitStruct);

  /* EXTI interrupt init*/
  HAL_NVIC_SetPriority(EXTI2_IRQn, 0, 0);
  HAL_NVIC_EnableIRQ(EXTI2_IRQn);

  HAL_NVIC_SetPriority(EXTI3_IRQn, 0, 0);
  HAL_NVIC_EnableIRQ(EXTI3_IRQn);

  HAL_NVIC_SetPriority(EXTI4_IRQn, 0, 0);
  HAL_NVIC_EnableIRQ(EXTI4_IRQn);

}

void Error_Handler(void)
{
  __disable_irq();
  while (1)
  {
  }
}
